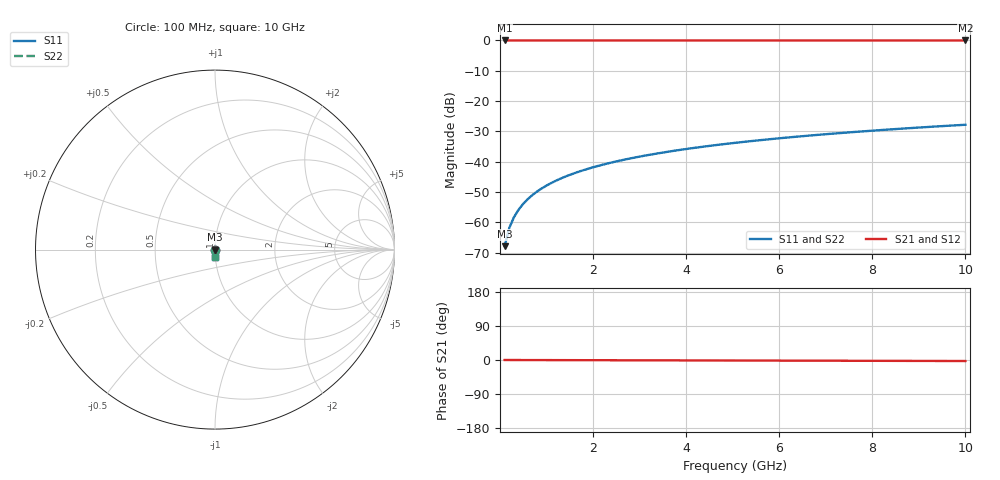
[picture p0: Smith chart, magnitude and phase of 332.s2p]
# Hz S RI R 50.00
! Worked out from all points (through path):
!   100 points, 100 MHz to 10 GHz, reference 50 ohm
!   highest |S21| = 0.00 dB at 100 MHz (marker M1); lowest = 0.0 dB at 10 GHz (marker M2)
!   lowest |S11| = -67.9 dB at 100 MHz (marker M3), VSWR 1.00, Z = 50 - j0.0403 ohm
!   |S11| at or under -10 dB: start of sweep to end of sweep
!   |S22| runs from -67.9 to -27.8 dB; largest |S21 - S12| = 0
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1e8  1.19e-05 -0.000403  1 -0.000468  1 -0.000468  1.19e-05 -0.000403
2e8  1.1e-05 -0.000806  1 -0.000935  1 -0.000935  1.1e-05 -0.000806
3e8  9.69e-06 -0.00121  1 -0.0014  1 -0.0014  9.69e-06 -0.00121
4e8  8e-06 -0.00161  1 -0.00187  1 -0.00187  8e-06 -0.00161
5e8  5.92e-06 -0.00202  1 -0.00234  1 -0.00234  5.92e-06 -0.00202
6e8  3.46e-06 -0.00242  1 -0.00281  1 -0.00281  3.46e-06 -0.00242
7e8  6.24e-07 -0.00282  1 -0.00327  1 -0.00327  6.24e-07 -0.00282
8e8  -2.6e-06 -0.00323  1 -0.00374  1 -0.00374  -2.6e-06 -0.00323
9e8  -6.2e-06 -0.00363  1 -0.00421  1 -0.00421  -6.2e-06 -0.00363
1.1e9  -1.45e-05 -0.00444  1 -0.00515  1 -0.00515  -1.45e-05 -0.00444
1.4e9  -2.99e-05 -0.00565  0.9999 -0.00655  0.9999 -0.00655  -2.99e-05 -0.00565
1.8e9  -5.57e-05 -0.00726  0.9999 -0.00842  0.9999 -0.00842  -5.57e-05 -0.00726
2.1e9  -7.9e-05 -0.00847  0.9999 -0.00983  0.9999 -0.00983  -7.9e-05 -0.00847
2.5e9  -0.000115 -0.0101  0.9999 -0.0117  0.9999 -0.0117  -0.000115 -0.0101
2.9e9  -0.000158 -0.0117  0.9998 -0.0136  0.9998 -0.0136  -0.000158 -0.0117
3.4e9  -0.00022 -0.0137  0.9997 -0.0159  0.9997 -0.0159  -0.00022 -0.0137
4.2e9  -0.000339 -0.017  0.9996 -0.0197  0.9996 -0.0197  -0.000339 -0.017
5.1e9  -0.000502 -0.0206  0.9995 -0.0239  0.9995 -0.0239  -0.000502 -0.0206
5.9e9  -0.000673 -0.0239  0.9993 -0.0277  0.9993 -0.0277  -0.000673 -0.0239
6.7e9  -0.00087 -0.0271  0.9991 -0.0315  0.9991 -0.0315  -0.00087 -0.0271
8.4e9  -0.00137 -0.0341  0.9986 -0.0395  0.9986 -0.0395  -0.00137 -0.0341
1e10  -0.00194 -0.0406  0.998 -0.0471  0.998 -0.0471  -0.00194 -0.0406
